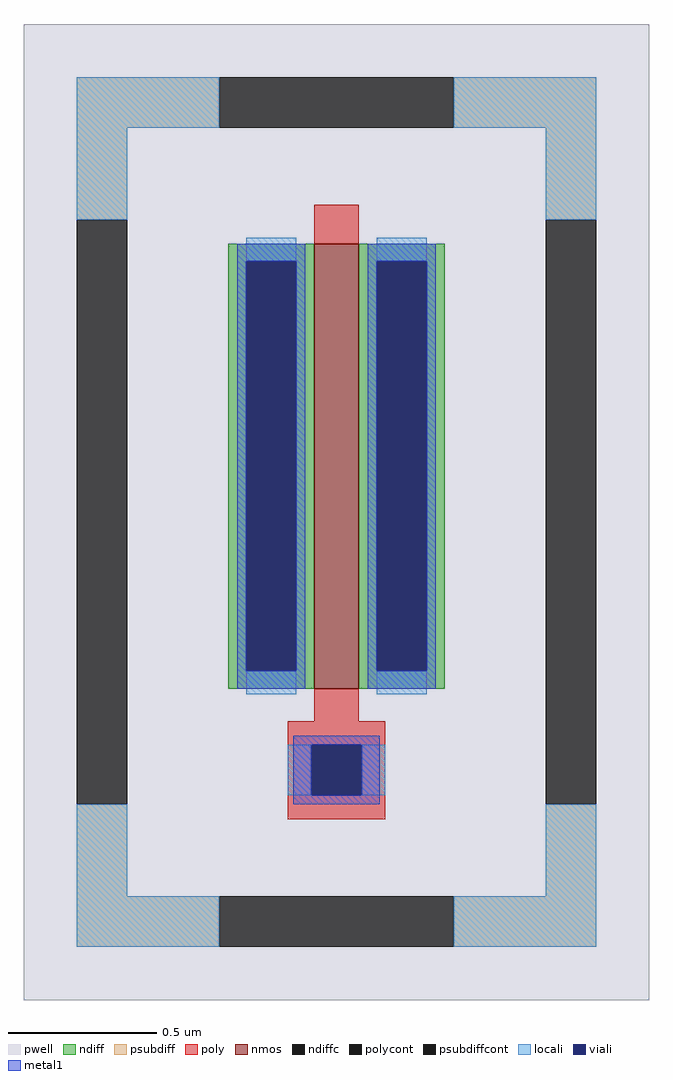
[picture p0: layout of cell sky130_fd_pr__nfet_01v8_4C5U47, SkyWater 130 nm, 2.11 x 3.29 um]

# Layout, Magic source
magic
tech sky130A
magscale 1 2
<< pwell >>
rect -211 -329 211 329
<< nmos >>
rect -15 -119 15 181
<< ndiff >>
rect -73 169 -15 181
rect -73 -107 -61 169
rect -27 -107 -15 169
rect -73 -119 -15 -107
rect 15 169 73 181
rect 15 -107 27 169
rect 61 -107 73 169
rect 15 -119 73 -107
<< ndiffc >>
rect -61 -107 -27 169
rect 27 -107 61 169
<< psubdiff >>
rect -175 259 -79 293
rect 79 259 175 293
rect -175 197 -141 259
rect 141 197 175 259
rect -175 -259 -141 -197
rect 141 -259 175 -197
rect -175 -293 -79 -259
rect 79 -293 175 -259
<< psubdiffcont >>
rect -79 259 79 293
rect -175 -197 -141 197
rect 141 -197 175 197
rect -79 -293 79 -259
<< poly >>
rect -15 181 15 207
rect -15 -141 15 -119
rect -33 -157 33 -141
rect -33 -191 -17 -157
rect 17 -191 33 -157
rect -33 -207 33 -191
<< polycont >>
rect -17 -191 17 -157
<< locali >>
rect -175 259 -79 293
rect 79 259 175 293
rect -175 197 -141 259
rect 141 197 175 259
rect -61 169 -27 185
rect -61 -123 -27 -107
rect 27 169 61 185
rect 27 -123 61 -107
rect -33 -191 -17 -157
rect 17 -191 33 -157
rect -175 -259 -141 -197
rect 141 -259 175 -197
rect -175 -293 -79 -259
rect 79 -293 175 -259
<< viali >>
rect -61 -107 -27 169
rect 27 -107 61 169
rect -17 -191 17 -157
<< metal1 >>
rect -67 169 -21 181
rect -67 -107 -61 169
rect -27 -107 -21 169
rect -67 -119 -21 -107
rect 21 169 67 181
rect 21 -107 27 169
rect 61 -107 67 169
rect 21 -119 67 -107
rect -29 -157 29 -151
rect -29 -191 -17 -157
rect 17 -191 29 -157
rect -29 -197 29 -191
<< properties >>
string gencell sky130_fd_pr__nfet_01v8
string FIXED_BBOX -158 -276 158 276
string parameters w 1.5 l 0.150 m 1 nf 1 diffcov 100 polycov 100 guard 1 glc 1 grc 1 gtc 1 gbc 1 tbcov 100 rlcov 100 topc 0 botc 1 poverlap 0 doverlap 1 lmin 0.15 wmin 0.42 compatible {sky130_fd_pr__nfet_01v8 sky130_fd_pr__nfet_01v8_lvt  sky130_fd_bs_flash__special_sonosfet_star  sky130_fd_pr__nfet_g5v0d10v5 sky130_fd_pr__nfet_05v0_nvt} full_metal 1 viasrc 100 viadrn 100 viagate 100 viagb 0 viagr 0 viagl 0 viagt 0
string library sky130
<< end >>
